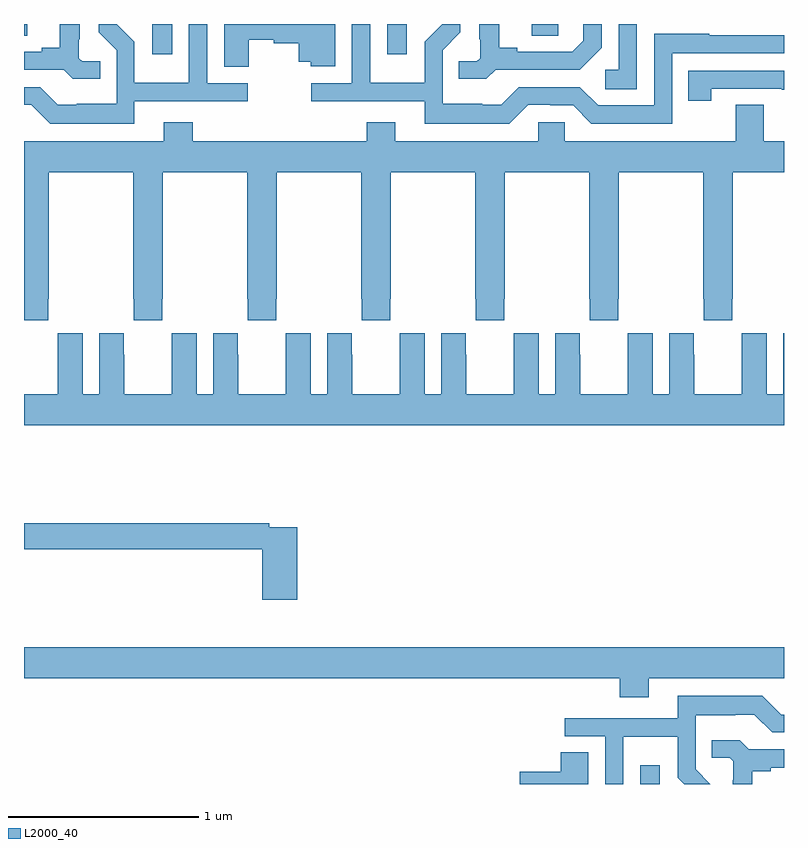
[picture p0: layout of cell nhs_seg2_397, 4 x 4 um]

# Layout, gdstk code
import gdstk
lib = gdstk.Library(unit=1e-6, precision=1e-09)
def R(c, l, rs):  # rectangles x0, y0, x1, y1
    for r in rs: c.add(gdstk.rectangle(r[:2], r[2:], *l))
def P(c, l, *ps):  # polygons
    for p in ps: c.add(gdstk.Polygon(p, *l))
L2000_40 = (2000, 40)

nhs_seg2_397 = lib.new_cell('nhs_seg2_397')
R(nhs_seg2_397, L2000_40, [(134.243,593.8,134.347,593.899), (131.675,597.642,131.779,597.8), (132.911,597.642,133.015,597.8), (131,597.739,131.017,597.8), (133.673,597.739,133.812,597.8)])
P(nhs_seg2_397, L2000_40, [(134.226,597.8),(134.13,597.8),(134.13,597.558),(134.058,597.558),(134.058,597.457),(134.226,597.457)],
  [(131.402,597.603),(131.307,597.603),(131.289,597.621),(131.289,597.721),(131.293,597.721),(131.293,597.8),(131.189,597.8),(131.189,597.674),(131.093,597.674),(131.093,597.654),(131,597.654),(131,597.558),(131.208,597.558),(131.256,597.511),(131.402,597.511)],
  [(133.482,597.558),(133.924,597.558),(134.04,597.674),(134.04,597.8),(133.943,597.8),(133.943,597.711),(133.886,597.654),(133.597,597.654),(133.597,597.674),(133.501,597.674),(133.501,597.8),(133.397,597.8),(133.397,597.721),(133.401,597.721),(133.401,597.621),(133.383,597.603),(133.288,597.603),(133.288,597.511),(133.434,597.511)],
  [(132.184,597.718),(132.315,597.718),(132.315,597.7),(132.446,597.7),(132.446,597.602),(132.51,597.602),(132.51,597.578),(132.637,597.578),(132.637,597.8),(132.053,597.8),(132.053,597.574),(132.184,597.574)],
  [(133.653,597.375),(133.77,597.375),(133.77,597.372),(133.89,597.372),(133.986,597.276),(134.412,597.276),(134.412,597.645),(135,597.645),(135,597.741),(134.607,597.741),(134.607,597.748),(134.316,597.748),(134.316,597.372),(134.022,597.372),(133.926,597.468),(133.605,597.468),(133.512,597.375),(133.412,597.375),(133.412,597.379),(133.203,597.379),(133.203,597.663),(133.296,597.756),(133.296,597.8),(133.202,597.8),(133.202,597.798),(133.11,597.706),(133.11,597.49),(132.822,597.49),(132.822,597.8),(132.726,597.8),(132.726,597.489),(132.513,597.489),(132.513,597.393),(133.109,597.393),(133.109,597.275),(133.553,597.275)],
  [(131.581,597.393),(132.178,597.393),(132.178,597.489),(131.964,597.489),(131.964,597.8),(131.868,597.8),(131.868,597.49),(131.58,597.49),(131.58,597.706),(131.489,597.798),(131.489,597.8),(131.394,597.8),(131.394,597.756),(131.487,597.663),(131.487,597.379),(131.278,597.379),(131.278,597.375),(131.178,597.375),(131.085,597.468),(131,597.468),(131,597.375),(131.037,597.375),(131.137,597.275),(131.581,597.275)],
  [(134.616,597.459),(134.989,597.459),(134.989,597.454),(135,597.454),(135,597.555),(134.497,597.555),(134.497,597.396),(134.616,597.396)],
  [(131,596.241),(131.127,596.241),(131.127,596.353),(131.13,596.353),(131.13,597.02),(131.575,597.02),(131.575,596.353),(131.577,596.353),(131.577,596.241),(131.727,596.241),(131.727,596.353),(131.73,596.353),(131.73,597.02),(132.175,597.02),(132.175,596.353),(132.177,596.353),(132.177,596.241),(132.327,596.241),(132.327,596.353),(132.33,596.353),(132.33,597.02),(132.775,597.02),(132.775,596.353),(132.777,596.353),(132.777,596.241),(132.927,596.241),(132.927,596.353),(132.93,596.353),(132.93,597.02),(133.375,597.02),(133.375,596.353),(133.377,596.353),(133.377,596.241),(133.527,596.241),(133.527,596.353),(133.53,596.353),(133.53,597.02),(133.975,597.02),(133.975,596.353),(133.977,596.353),(133.977,596.241),(134.127,596.241),(134.127,596.353),(134.13,596.353),(134.13,597.02),(134.575,597.02),(134.575,596.353),(134.577,596.353),(134.577,596.241),(134.727,596.241),(134.727,596.353),(134.73,596.353),(134.73,597.02),(135,597.02),(135,597.184),(134.893,597.184),(134.893,597.374),(134.746,597.374),(134.746,597.184),(133.845,597.184),(133.845,597.282),(133.707,597.282),(133.707,597.184),(132.955,597.184),(132.955,597.283),(132.803,597.283),(132.803,597.184),(131.888,597.184),(131.888,597.283),(131.735,597.283),(131.735,597.184),(131,597.184)],
  [(134.526,596.06),(134.526,596.173),(134.396,596.173),(134.396,595.852),(134.308,595.852),(134.308,596.173),(134.178,596.173),(134.178,596.06),(134.177,596.06),(134.177,595.852),(133.927,595.852),(133.927,596.06),(133.926,596.06),(133.926,596.173),(133.796,596.173),(133.796,595.852),(133.708,595.852),(133.708,596.173),(133.578,596.173),(133.578,596.06),(133.577,596.06),(133.577,595.852),(133.327,595.852),(133.327,596.06),(133.326,596.06),(133.326,596.173),(133.196,596.173),(133.196,595.852),(133.108,595.852),(133.108,596.173),(132.978,596.173),(132.978,596.06),(132.977,596.06),(132.977,595.852),(132.727,595.852),(132.727,596.06),(132.726,596.06),(132.726,596.173),(132.596,596.173),(132.596,595.852),(132.508,595.852),(132.508,596.173),(132.378,596.173),(132.378,596.06),(132.377,596.06),(132.377,595.852),(132.127,595.852),(132.127,596.06),(132.126,596.06),(132.126,596.173),(131.996,596.173),(131.996,595.852),(131.908,595.852),(131.908,596.173),(131.778,596.173),(131.778,596.06),(131.777,596.06),(131.777,595.852),(131.527,595.852),(131.527,596.06),(131.526,596.06),(131.526,596.173),(131.396,596.173),(131.396,595.852),(131.308,595.852),(131.308,596.173),(131.178,596.173),(131.178,596.06),(131.177,596.06),(131.177,595.852),(131,595.852),(131,595.688),(135,595.688),(135,596.173),(134.996,596.173),(134.996,595.852),(134.908,595.852),(134.908,596.173),(134.778,596.173),(134.778,596.06),(134.777,596.06),(134.777,595.852),(134.527,595.852),(134.527,596.06)],
  [(132.437,595.152),(132.29,595.152),(132.29,595.172),(131,595.172),(131,595.036),(132.254,595.036),(132.254,594.771),(132.437,594.771)],
  [(134.287,594.356),(135,594.356),(135,594.52),(131,594.52),(131,594.356),(134.135,594.356),(134.135,594.257),(134.287,594.257)],
  [(134.154,594.05),(134.442,594.05),(134.442,593.834),(134.476,593.8),(134.612,593.8),(134.535,593.877),(134.535,594.161),(134.744,594.161),(134.744,594.165),(134.844,594.165),(134.937,594.072),(135,594.072),(135,594.165),(134.985,594.165),(134.885,594.265),(134.441,594.265),(134.441,594.147),(133.845,594.147),(133.845,594.051),(134.058,594.051),(134.058,593.8),(134.154,593.8)],
  [(134.833,593.866),(134.929,593.866),(134.929,593.886),(135,593.886),(135,593.982),(134.814,593.982),(134.766,594.029),(134.62,594.029),(134.62,593.937),(134.715,593.937),(134.733,593.919),(134.733,593.819),(134.729,593.819),(134.729,593.8),(134.833,593.8)],
  [(133.969,593.966),(133.826,593.966),(133.826,593.864),(133.608,593.864),(133.608,593.8),(133.969,593.8)])

lib.write_gds('nhs_seg2_397.gds')
